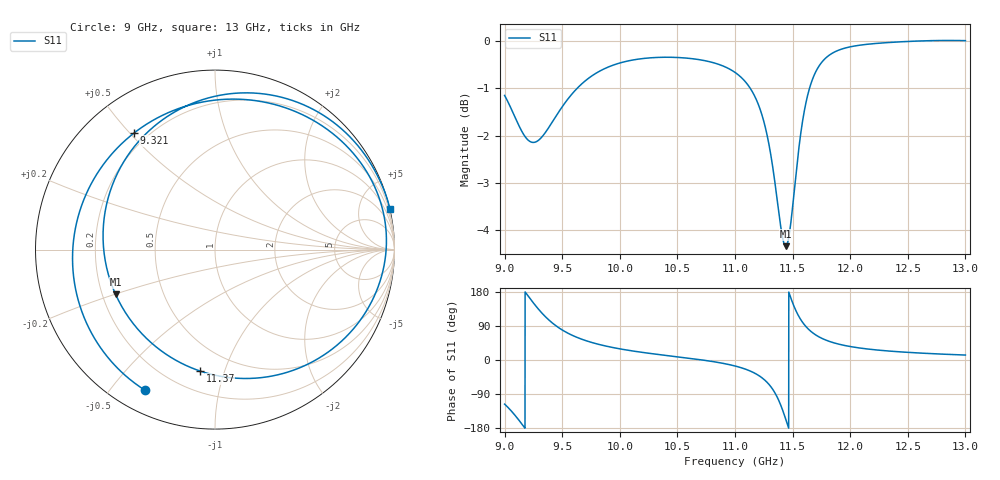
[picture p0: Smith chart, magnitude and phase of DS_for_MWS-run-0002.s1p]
! TOUCHSTONE file generated by CST DESIGN STUDIO
! Date and time: Tue Feb  4 16:42:31 2025
! Project name: C:\Work\MatlabApps\UnitCellOptimizationMatlab\CST\unitcell.cst
! Tree item: Tasks\Sweep1\SPara1\S-Parameters
! Header version: 2024
! Port assignment regex: !\s*Touchstone port\s*([0-9]+)\s*=\s*(CST MWS port|CST DES external port|CST DES block port)\s*(.+)\s* \(\"(.*)\"\)(\s*mode\s*([0-9]+))?.*
! Touchstone port assignment:
! Touchstone port 1 = CST DES external port 1 ("")
# GHz S MA R 50
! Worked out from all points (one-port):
!   4001 points, 9 GHz to 13 GHz, reference 50 ohm
!   lowest |S11| = -4.3 dB at 11.44 GHz (marker M1), VSWR 4.09, Z = 12.7 - j10.1 ohm
!   |S11| at or under -10 dB: nowhere
!   S11 on the Smith chart (normalised r, x): 9 GHz: 0.09, -0.62; 9.321 GHz: 0.15, +0.51; 11.37 GHz: 0.33, -0.83; 13 GHz: 0.01, +8.73
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9  0.8754 -116.4
9.073  0.8394 -139.7
9.165  0.7964 -175.1
9.234  0.7816 156.9
9.321  0.7908 124.8
9.402  0.8164 100.8
9.5  0.8516 79.3
9.601  0.883 63.2
9.714  0.9097 50.2
10  0.947 29.4
10.5  0.9597 8.4
11  0.9257 -15.8
11.127  0.8927 -28.4
11.22  0.8451 -43.8
11.294  0.7782 -64.0
11.365  0.6814 -97.1
11.402  0.631 -122.9
11.44  0.6074 -155.8
11.47  0.6239 176.6
11.5  0.6681 151.0
11.531  0.7268 128.8
11.561  0.782 111.4
11.63  0.8751 83.6
11.698  0.9255 66.7
11.777  0.9558 54.0
12  0.9849 35.5
12.5  0.9978 20.2
13  0.9998 13.1
